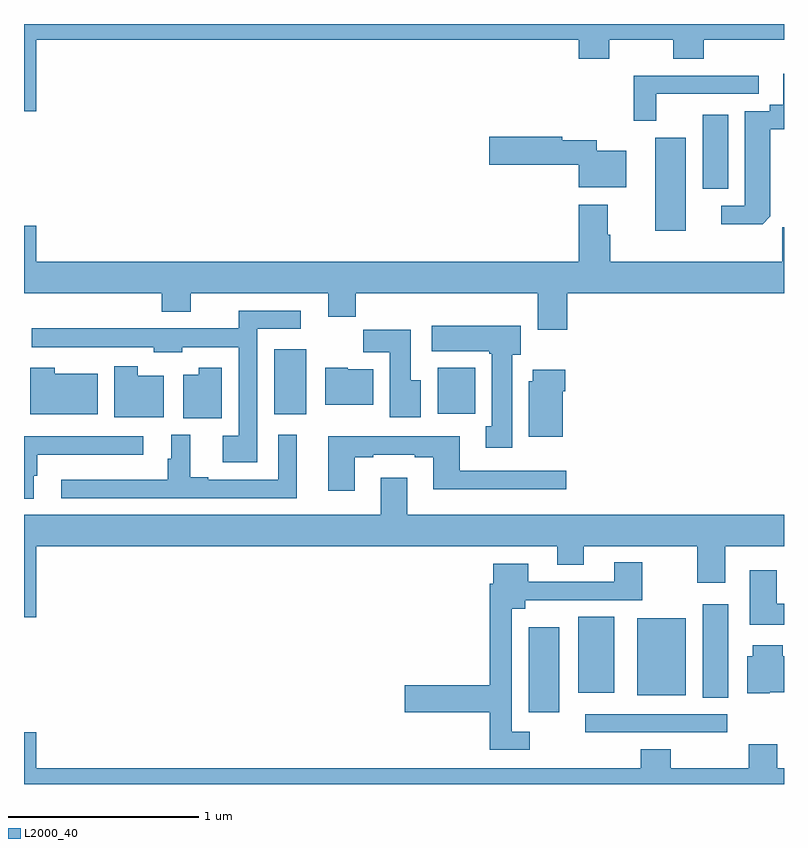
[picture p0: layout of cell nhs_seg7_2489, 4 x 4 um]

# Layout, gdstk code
import gdstk
lib = gdstk.Library(unit=1e-6, precision=1e-09)
def R(c, l, rs):  # rectangles x0, y0, x1, y1
    for r in rs: c.add(gdstk.rectangle(r[:2], r[2:], *l))
def P(c, l, *ps):  # polygons
    for p in ps: c.add(gdstk.Polygon(p, *l))
L2000_40 = (2000, 40)

nhs_seg7_2489 = lib.new_cell('nhs_seg7_2489')
R(nhs_seg7_2489, L2000_40, [(275.955,1030.272,276.7,1030.368), (275.657,1030.377,275.818,1030.825), (276.572,1030.453,276.706,1030.945), (276.227,1030.466,276.484,1030.873), (275.918,1030.481,276.106,1030.879), (274.316,1031.945,274.486,1032.289), (275.177,1031.948,275.374,1032.19), (276.323,1032.912,276.484,1033.402), (276.572,1033.134,276.706,1033.522)])
P(nhs_seg7_2489, L2000_40, [(273.064,1033.916),(275.921,1033.916),(275.921,1033.817),(276.081,1033.817),(276.081,1033.916),(276.418,1033.916),(276.418,1033.817),(276.578,1033.817),(276.578,1033.916),(277,1033.916),(277,1034),(273,1034),(273,1033.542),(273.064,1033.542)],
  [(276.928,1032.988),(276.928,1033.446),(277,1033.446),(277,1033.738),(276.995,1033.738),(276.995,1033.574),(276.924,1033.574),(276.924,1033.542),(276.794,1033.542),(276.794,1033.044),(276.669,1033.044),(276.669,1032.947),(276.887,1032.947)],
  [(276.327,1033.632),(276.868,1033.632),(276.868,1033.728),(276.208,1033.728),(276.208,1033.491),(276.327,1033.491)],
  [(276.169,1033.333),(276.015,1033.333),(276.015,1033.389),(275.832,1033.389),(275.832,1033.406),(275.448,1033.406),(275.448,1033.259),(275.919,1033.259),(275.919,1033.142),(276.169,1033.142)],
  [(275.858,1032.584),(277,1032.584),(277,1032.93),(276.991,1032.93),(276.991,1032.748),(276.086,1032.748),(276.086,1032.89),(276.073,1032.89),(276.073,1033.048),(275.921,1033.048),(275.921,1032.748),(273.064,1032.748),(273.064,1032.937),(273,1032.937),(273,1032.584),(273.725,1032.584),(273.725,1032.485),(273.877,1032.485),(273.877,1032.584),(274.601,1032.584),(274.601,1032.46),(274.745,1032.46),(274.745,1032.584),(275.705,1032.584),(275.705,1032.39),(275.858,1032.39)],
  [(274.227,1032.396),(274.456,1032.396),(274.456,1032.492),(274.129,1032.492),(274.129,1032.398),(273.042,1032.398),(273.042,1032.299),(273.38,1032.299),(273.38,1032.3),(273.684,1032.3),(273.684,1032.272),(273.834,1032.272),(273.834,1032.3),(274.131,1032.3),(274.131,1031.833),(274.047,1031.833),(274.047,1031.693),(274.227,1031.693)],
  [(275.569,1032.258),(275.614,1032.258),(275.614,1032.412),(275.145,1032.412),(275.145,1032.278),(275.449,1032.278),(275.449,1032.265),(275.462,1032.265),(275.462,1031.882),(275.429,1031.882),(275.429,1031.769),(275.569,1031.769)],
  [(275.089,1032.124),(275.035,1032.124),(275.035,1032.391),(274.786,1032.391),(274.786,1032.272),(274.925,1032.272),(274.925,1031.93),(275.089,1031.93)],
  [(273.736,1032.148),(273.598,1032.148),(273.598,1032.199),(273.476,1032.199),(273.476,1031.93),(273.736,1031.93)],
  [(274.837,1032.184),(274.704,1032.184),(274.704,1032.19),(274.586,1032.19),(274.586,1031.996),(274.837,1031.996)],
  [(274.042,1032.19),(273.92,1032.19),(273.92,1032.154),(273.839,1032.154),(273.839,1031.924),(274.042,1031.924)],
  [(273.388,1032.16),(273.162,1032.16),(273.162,1032.19),(273.032,1032.19),(273.032,1031.945),(273.388,1031.945)],
  [(275.836,1032.068),(275.849,1032.068),(275.849,1032.18),(275.678,1032.18),(275.678,1032.12),(275.657,1032.12),(275.657,1031.828),(275.836,1031.828)],
  [(274.435,1031.839),(274.338,1031.839),(274.338,1031.601),(273.97,1031.601),(273.97,1031.614),(273.874,1031.614),(273.874,1031.839),(273.776,1031.839),(273.776,1031.712),(273.757,1031.712),(273.757,1031.602),(273.195,1031.602),(273.195,1031.505),(274.435,1031.505)],
  [(274.741,1031.721),(274.837,1031.721),(274.837,1031.733),(275.057,1031.733),(275.057,1031.721),(275.153,1031.721),(275.153,1031.552),(275.854,1031.552),(275.854,1031.649),(275.293,1031.649),(275.293,1031.829),(274.829,1031.829),(274.829,1031.83),(274.601,1031.83),(274.601,1031.544),(274.741,1031.544)],
  [(273.052,1031.622),(273.071,1031.622),(273.071,1031.732),(273.628,1031.732),(273.628,1031.829),(273,1031.829),(273,1031.501),(273.052,1031.501)],
  [(273.064,1031.252),(275.807,1031.252),(275.807,1031.153),(275.947,1031.153),(275.947,1031.252),(276.544,1031.252),(276.544,1031.058),(276.691,1031.058),(276.691,1031.252),(277,1031.252),(277,1031.416),(275.017,1031.416),(275.017,1031.611),(274.877,1031.611),(274.877,1031.416),(273,1031.416),(273,1030.878),(273.064,1030.878)],
  [(275.662,1030.275),(275.568,1030.275),(275.568,1030.922),(275.638,1030.922),(275.638,1030.968),(276.255,1030.968),(276.255,1031.167),(276.107,1031.167),(276.107,1031.064),(275.653,1031.064),(275.653,1031.158),(275.471,1031.158),(275.471,1031.054),(275.452,1031.054),(275.452,1030.52),(275.004,1030.52),(275.004,1030.378),(275.452,1030.378),(275.452,1030.179),(275.662,1030.179)],
  [(277,1030.948),(276.961,1030.948),(276.961,1031.125),(276.821,1031.125),(276.821,1030.838),(277,1030.838)],
  [(276.924,1030.484),(277,1030.484),(277,1030.672),(276.994,1030.672),(276.994,1030.729),(276.836,1030.729),(276.836,1030.672),(276.806,1030.672),(276.806,1030.478),(276.924,1030.478)],
  [(277,1030.084),(276.965,1030.084),(276.965,1030.208),(276.814,1030.208),(276.814,1030.084),(276.405,1030.084),(276.405,1030.183),(276.245,1030.183),(276.245,1030.084),(273.064,1030.084),(273.064,1030.273),(273,1030.273),(273,1030),(277,1030)])

lib.write_gds('nhs_seg7_2489.gds')
